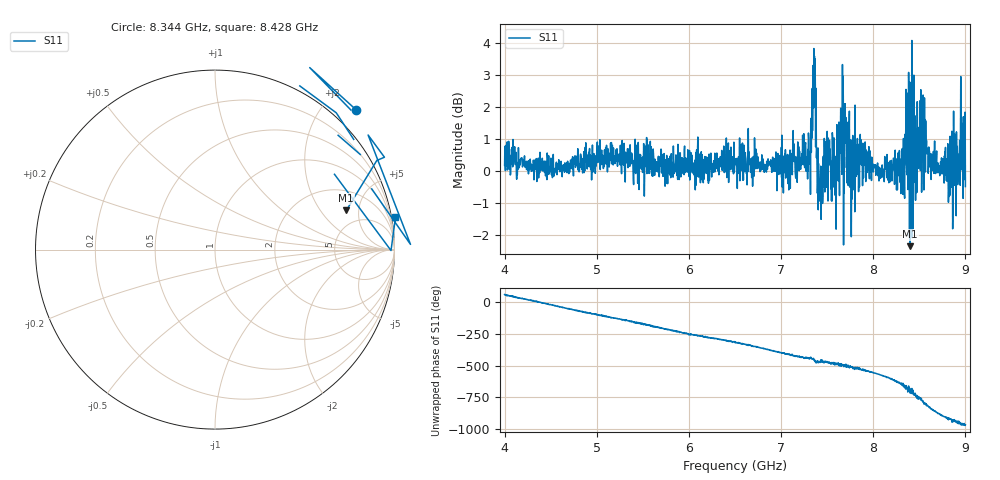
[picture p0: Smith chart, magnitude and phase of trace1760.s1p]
! Created with skrf 1.8.0 (http://scikit-rf.org).
# Hz S RI R 50.0
!freq ReS11 ImS11
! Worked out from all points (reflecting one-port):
!   1601 points, 4 GHz to 9 GHz, reference 50 ohm
!   lowest |S11| = -2.3 dB at 8.4 GHz (marker M1), VSWR 7.45, Z = 174 + j182 ohm
!   phase of S11 starts at 55 deg and turns -1019 deg over the sweep
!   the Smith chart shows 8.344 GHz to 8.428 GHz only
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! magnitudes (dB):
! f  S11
! 4 GHz  0.2
! 4.625 GHz  -0.2
! 5.25 GHz  0.2
! 5.875 GHz  0.1
! 6.5 GHz  0.4
! 7.125 GHz  0.7
! 7.294 GHz  0.0
! 7.356 GHz  3.8
! 7.372 GHz  2.5
! 7.409 GHz  -0.4
! 7.428 GHz  0.0
! 7.509 GHz  -0.9
! 7.609 GHz  1.0
! 7.65 GHz  1.9
! 7.688 GHz  2.1
! 7.703 GHz  1.7
! 7.716 GHz  -0.4
! 7.75 GHz  0.1
! 7.878 GHz  0.2
! 8.316 GHz  0.7
! 8.334 GHz  0.1
! 8.375 GHz  1.6
! 8.4 GHz  -2.3
! 8.522 GHz  1.9
! 8.622 GHz  0.2
! 8.841 GHz  0.7
! 8.959 GHz  1.5
! 9 GHz  -0.5
